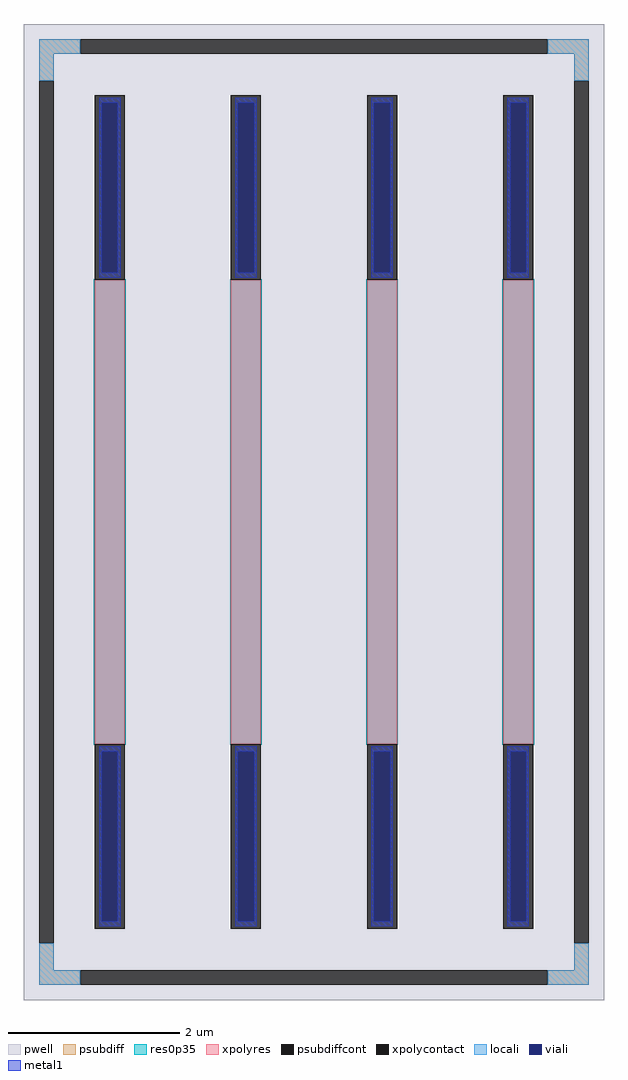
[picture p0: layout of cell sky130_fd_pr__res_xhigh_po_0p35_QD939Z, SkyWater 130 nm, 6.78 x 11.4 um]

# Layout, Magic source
magic
tech sky130A
magscale 1 2
<< pwell >>
rect -678 -1140 678 1140
<< psubdiff >>
rect -642 1070 -546 1104
rect 546 1070 642 1104
rect -642 1008 -608 1070
rect 608 1008 642 1070
rect -642 -1070 -608 -1008
rect 608 -1070 642 -1008
rect -642 -1104 -546 -1070
rect 546 -1104 642 -1070
<< psubdiffcont >>
rect -546 1070 546 1104
rect -642 -1008 -608 1008
rect 608 -1008 642 1008
rect -546 -1104 546 -1070
<< xpolycontact >>
rect -512 542 -442 974
rect -512 -974 -442 -542
rect -194 542 -124 974
rect -194 -974 -124 -542
rect 124 542 194 974
rect 124 -974 194 -542
rect 442 542 512 974
rect 442 -974 512 -542
<< xpolyres >>
rect -512 -542 -442 542
rect -194 -542 -124 542
rect 124 -542 194 542
rect 442 -542 512 542
<< locali >>
rect -642 1070 -546 1104
rect 546 1070 642 1104
rect -642 1008 -608 1070
rect 608 1008 642 1070
rect -642 -1070 -608 -1008
rect 608 -1070 642 -1008
rect -642 -1104 -546 -1070
rect 546 -1104 642 -1070
<< viali >>
rect -496 559 -458 956
rect -178 559 -140 956
rect 140 559 178 956
rect 458 559 496 956
rect -496 -956 -458 -559
rect -178 -956 -140 -559
rect 140 -956 178 -559
rect 458 -956 496 -559
<< metal1 >>
rect -502 956 -452 968
rect -502 559 -496 956
rect -458 559 -452 956
rect -502 547 -452 559
rect -184 956 -134 968
rect -184 559 -178 956
rect -140 559 -134 956
rect -184 547 -134 559
rect 134 956 184 968
rect 134 559 140 956
rect 178 559 184 956
rect 134 547 184 559
rect 452 956 502 968
rect 452 559 458 956
rect 496 559 502 956
rect 452 547 502 559
rect -502 -559 -452 -547
rect -502 -956 -496 -559
rect -458 -956 -452 -559
rect -502 -968 -452 -956
rect -184 -559 -134 -547
rect -184 -956 -178 -559
rect -140 -956 -134 -559
rect -184 -968 -134 -956
rect 134 -559 184 -547
rect 134 -956 140 -559
rect 178 -956 184 -559
rect 134 -968 184 -956
rect 452 -559 502 -547
rect 452 -956 458 -559
rect 496 -956 502 -559
rect 452 -968 502 -956
<< res0p35 >>
rect -514 -544 -440 544
rect -196 -544 -122 544
rect 122 -544 196 544
rect 440 -544 514 544
<< properties >>
string FIXED_BBOX -625 -1087 625 1087
string gencell sky130_fd_pr__res_xhigh_po_0p35
string library sky130
string parameters w 0.350 l 5.42 m 1 nx 4 wmin 0.350 lmin 0.50 rho 2000 val 32.046k dummy 0 dw 0.0 term 188.2 sterm 0.0 caplen 0 wmax 0.350 guard 1 glc 1 grc 1 gtc 1 gbc 1 compatible {sky130_fd_pr__res_xhigh_po_0p35  sky130_fd_pr__res_xhigh_po_0p69 sky130_fd_pr__res_xhigh_po_1p41  sky130_fd_pr__res_xhigh_po_2p85 sky130_fd_pr__res_xhigh_po_5p73} full_metal 1 n_guard 0 hv_guard 0 vias 1 viagb 0 viagt 0 viagl 0 viagr 0
<< end >>
